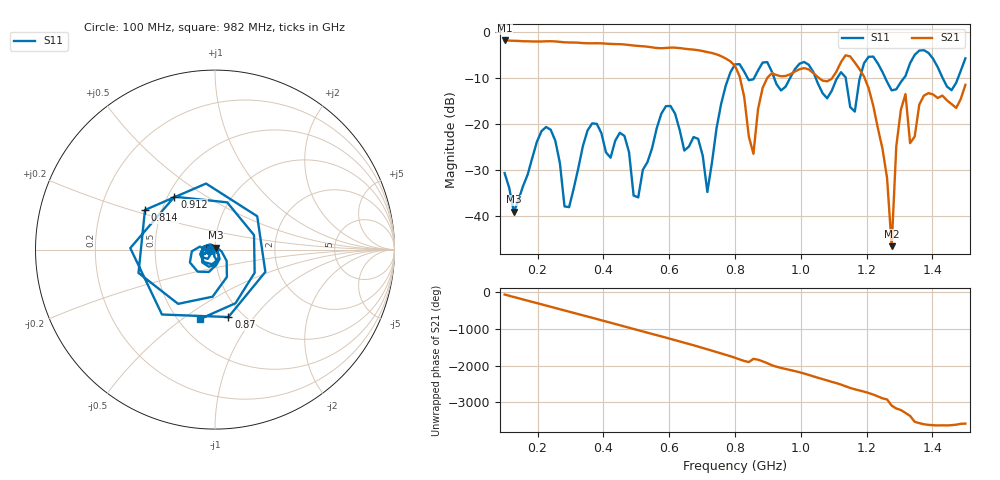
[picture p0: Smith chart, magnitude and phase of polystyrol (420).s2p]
! NanoVNA-App
! Date: 2025-09-25 15:33:09
! Start: 100MHz Stop: 1,5GHz Points: 101
! S-Parameter data: F S11 S21 S12 S22
# Hz S RI R 50
!  Frequency  S11_Real  S11_Imag  S21_Real  S21_Imag  S12_Real  S12_Imag  S22_Real  S22_Imag
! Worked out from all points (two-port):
!   101 points, 100 MHz to 1.5 GHz, reference 50 ohm
!   highest |S21| = -1.80 dB at 100 MHz (marker M1); lowest = -46.6 dB at 1.276 GHz (marker M2)
!   |S21| within 3 dB of the highest: start of sweep to 743 MHz
!   lowest |S11| = -39.1 dB at 128 MHz (marker M3), VSWR 1.02, Z = 50.3 + j1.06 ohm
!   |S11| at or under -10 dB: start of sweep to 779.9 MHz; 1.045 GHz to 1.11 GHz (65.11 MHz wide, 6.04 % of centre); 1.257 GHz to 1.313 GHz (56.35 MHz wide, 4.39 % of centre) (the widest 3 of 7)
!   S12 and S22 are empty: the file has one direction only
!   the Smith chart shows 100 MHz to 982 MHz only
!   S11 on the Smith chart (normalised r, x): 100 MHz: 0.94, -0.01; 814 MHz: 0.40, +0.22; 870 MHz: 0.86, -0.75; 912 MHz: 0.54, +0.37; 982 MHz: 0.64, -0.58
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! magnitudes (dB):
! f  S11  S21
! 100 MHz  -30.7  -1.8
! 128 MHz  -39.1  -1.9
! 212 MHz  -21.6  -2.0
! 282 MHz  -38.0  -2.2
! 338 MHz  -24.8  -2.4
! 464 MHz  -22.6  -2.7
! 506 MHz  -36.0  -3.0
! 576 MHz  -17.8  -3.5
! 716 MHz  -34.8  -4.3
! 800 MHz  -7.0  -7.4
! 814 MHz  -7.0  -9.6
! 856 MHz  -10.3  -26.5
! 870 MHz  -8.3  -16.8
! 912 MHz  -8.6  -8.9
! 982 MHz  -8.1  -8.6
! 1.038 GHz  -8.7  -8.9
! 1.192 GHz  -6.8  -9.6
! 1.276 GHz  -12.7  -46.6
! 1.29 GHz  -12.4  -24.9
! 1.318 GHz  -9.5  -13.5
! 1.332 GHz  -6.7  -24.2
! 1.5 GHz  -5.7  -11.5
